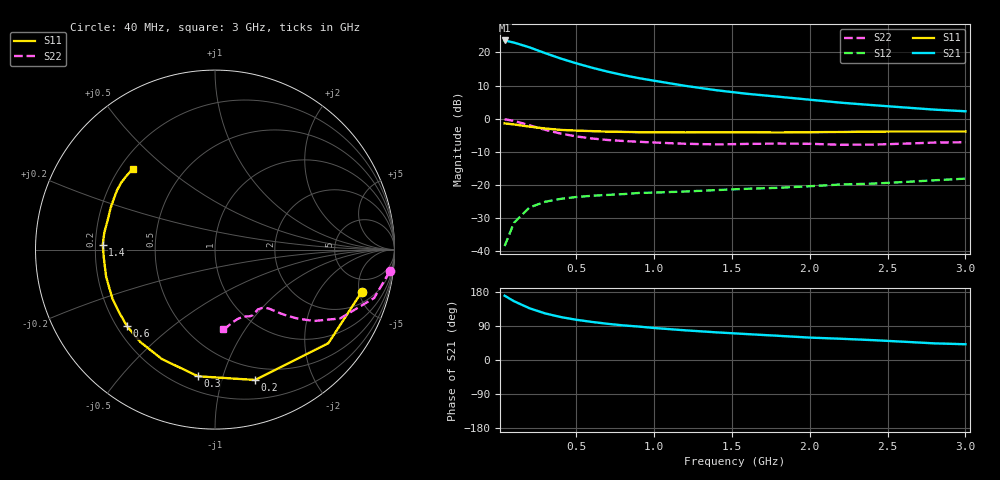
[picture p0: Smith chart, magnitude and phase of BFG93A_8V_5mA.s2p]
! Filename:  BFG93AE.S2P  Version:  2.0
! Philips part #: BFG 93A  Date: Jun 1990
! Bias condition: Vce=8V, Ic=5mA
! IN LINE PINNING: same data as with cross emitter pinning.
#  MHz  S  MA  R  50
! Freq  S11  S21  S12  S22  !GUM [dB]
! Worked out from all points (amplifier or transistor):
!   21 points, 40 MHz to 3 GHz, reference 50 ohm
!   highest |S21| = 23.6 dB at 40 MHz (marker M1)
!   |S21| within 3 dB of that: start of sweep to 253.2 MHz
!   unconditionally stable (mu >= 1): 1.453 GHz to end of sweep
!   at 300 MHz: K = 0.26, MSG = 22.4 dB, |S12| = -25.0 dB
!   at 1 GHz: K = 0.75, MSG = 16.9 dB, |S12| = -22.3 dB
!   at 3 GHz: K = 1.34, MAG = 6.7 dB, |S12| = -18.1 dB
!   lowest NFmin = 1.20 dB at 500 MHz
!   S11 on the Smith chart (normalised r, x): 40 MHz: 3.08, -5.27; 200 MHz: 0.37, -1.28; 300 MHz: 0.29, -0.83; 600 MHz: 0.24, -0.36; 1.4 GHz: 0.23, +0.02; 3 GHz: 0.25, +0.39
40  0.85 -16.2  15.1 169.7  0.012 81.6  0.981 -7.1
100  0.819 -39.5  14.03 155.2  0.027 69.8  0.927 -16.9
200  0.76 -72.9  11.89 136.5  0.046 55.0  0.796 -28.8
300  0.712 -97.6  9.737 123.0  0.056 46.1  0.68 -35.8
400  0.678 -115.8  8.076 113.4  0.062 40.5  0.597 -40.0
500  0.662 -128.9  6.84 106.2  0.066 37.5  0.541 -42.7
600  0.65 -138.9  5.88 100.5  0.069 35.9  0.504 -44.5
700  0.638 -147.4  5.134 95.6  0.071 35.2  0.478 -45.7
800  0.633 -154.6  4.548 91.4  0.073 35.2  0.462 -46.6
900  0.626 -160.7  4.094 88.3  0.076 35.2  0.449 -47.3
1000  0.625 -166.1  3.736 84.5  0.077 35.4  0.438 -48.2
1200  0.621 -175.4  3.129 78.3  0.08 37.5  0.419 -50.7
1400  0.626 177.5  2.686 73.0  0.084 39.6  0.41 -54.5
1600  0.624 171.3  2.369 68.3  0.088 41.4  0.417 -57.8
1800  0.62 164.7  2.143 63.8  0.091 43.8  0.422 -59.9
2000  0.626 158.3  1.933 59.1  0.096 46.3  0.419 -62.5
2200  0.631 153.2  1.743 56.1  0.102 48.0  0.405 -66.7
2400  0.638 148.9  1.604 52.5  0.105 50.0  0.407 -72.2
2600  0.642 144.7  1.482 48.3  0.111 52.5  0.42 -77.5
2800  0.642 140.1  1.37 43.9  0.118 54.0  0.437 -81.3
3000  0.642 135.6  1.294 41.6  0.125 53.3  0.442 -84.1
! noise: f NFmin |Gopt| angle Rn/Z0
500  1.2  0.308  55.5  0.221
1000  1.9  0.304  103.3  0.255
2000  3  0.484  -174.4  0.134
